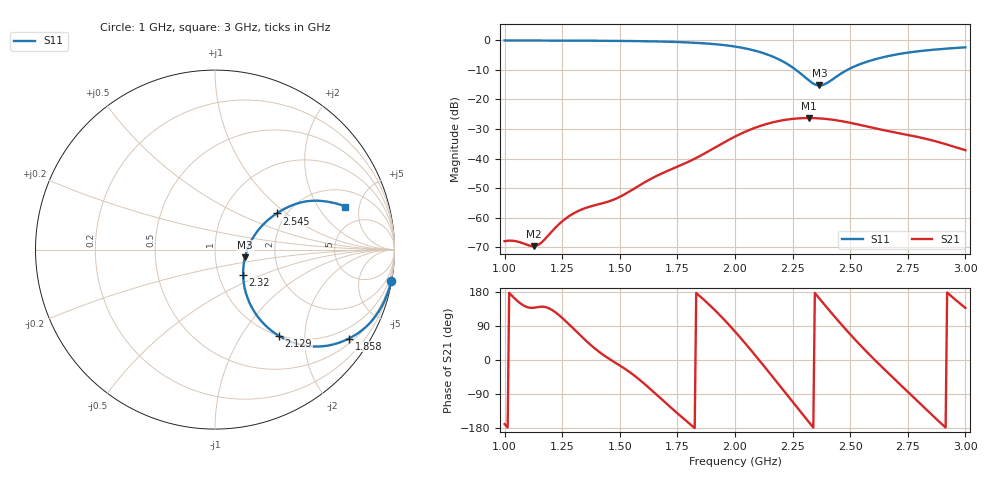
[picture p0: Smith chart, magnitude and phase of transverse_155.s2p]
! TOUCHSTONE file generated by CST MICROWAVE STUDIO
! Date and time: Tue Mar 11 13:57:14 2025
! Project name: transverse.cst
! Parameters = {Fracture=1; B=10; D=160; F=5; Feed=2.85625; L=100; M=30; R=0.384908; S=2; Theta=180; length=57.125; wave=114.25}
! Header version: 2024
! Port assignment regex: !\s*Touchstone port\s*([0-9]+)\s*=\s*(CST MWS port|CST DES external port|CST DES block port)\s*(.+)\s* \(\"(.*)\"\)(\s*mode\s*([0-9]+))?.*
! Touchstone port assignment:
! Touchstone port 1 = CST MWS port 1 ("")
! Touchstone port 2 = CST MWS port 2 ("")
# GHz S MA R 50
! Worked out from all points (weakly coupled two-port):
!   304 points, 1 GHz to 3 GHz, reference 50 ohm
!   highest |S21| = -26.29 dB at 2.32 GHz (marker M1); lowest = -69.7 dB at 1.125 GHz (marker M2)
!   lowest |S11| = -15.3 dB at 2.366 GHz (marker M3), VSWR 1.42, Z = 69.8 - j6.02 ohm
!   |S11| at or under -10 dB: 2.265 GHz to 2.488 GHz (222.7 MHz wide, 9.37 % of centre)
!   S12 and S22 are empty: the file has one direction only
!   S11 on the Smith chart (normalised r, x): 1 GHz: 0, -11; 1.858 GHz: 0.64, -3.20; 2.129 GHz: 0.99, -1.49; 2.32 GHz: 1.31, -0.38; 2.545 GHz: 1.79, +0.86; 3 GHz: 3.13, +3.59
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1  0.9977 -10.0  0.0003992 -169.0  0 0.0  0 0.0
1.0462  0.9969 -10.6  0.0004001 160.9  0 0.0  0 0.0
1.12541  0.9957 -11.8  0.0003285 137.9  0 0.0  0 0.0
1.15842  0.9951 -12.3  0.0003741 140.6  0 0.0  0 0.0
1.22442  0.9936 -13.4  0.0006996 124.2  0 0.0  0 0.0
1.26403  0.9922 -14.1  0.0009566 103.1  0 0.0  0 0.0
1.33663  0.9894 -15.5  0.001384 60.3  0 0.0  0 0.0
1.48845  0.981 -18.9  0.002136 -10.1  0 0.0  0 0.0
1.66667  0.9593 -24.5  0.005234 -95.4  0 0.0  0 0.0
1.85809  0.8956 -33.6  0.01161 162.7  0 0.0  0 0.0
2.0033  0.7829 -43.6  0.0239 72.9  0 0.0  0 0.0
2.12871  0.5985 -53.5  0.03763 -18.2  0 0.0  0 0.0
2.22772  0.3972 -57.6  0.04578 -93.4  0 0.0  0 0.0
2.32013  0.2105 -41.9  0.04849 -163.5  0 0.0  0 0.0
2.33993  0.1857 -31.6  0.04837 -178.3  0 0.0  0 0.0
2.36634  0.1724 -14.0  0.04784 162.1  0 0.0  0 0.0
2.39274  0.1839 3.0  0.04691 142.8  0 0.0  0 0.0
2.45215  0.2616 23.9  0.04367 100.5  0 0.0  0 0.0
2.54455  0.3986 30.4  0.03694 38.7  0 0.0  0 0.0
2.66997  0.5478 28.7  0.02885 -37.4  0 0.0  0 0.0
2.84158  0.6839 22.9  0.02098 -137.3  0 0.0  0 0.0
3  0.7631 18.3  0.01386 137.4  0 0.0  0 0.0
